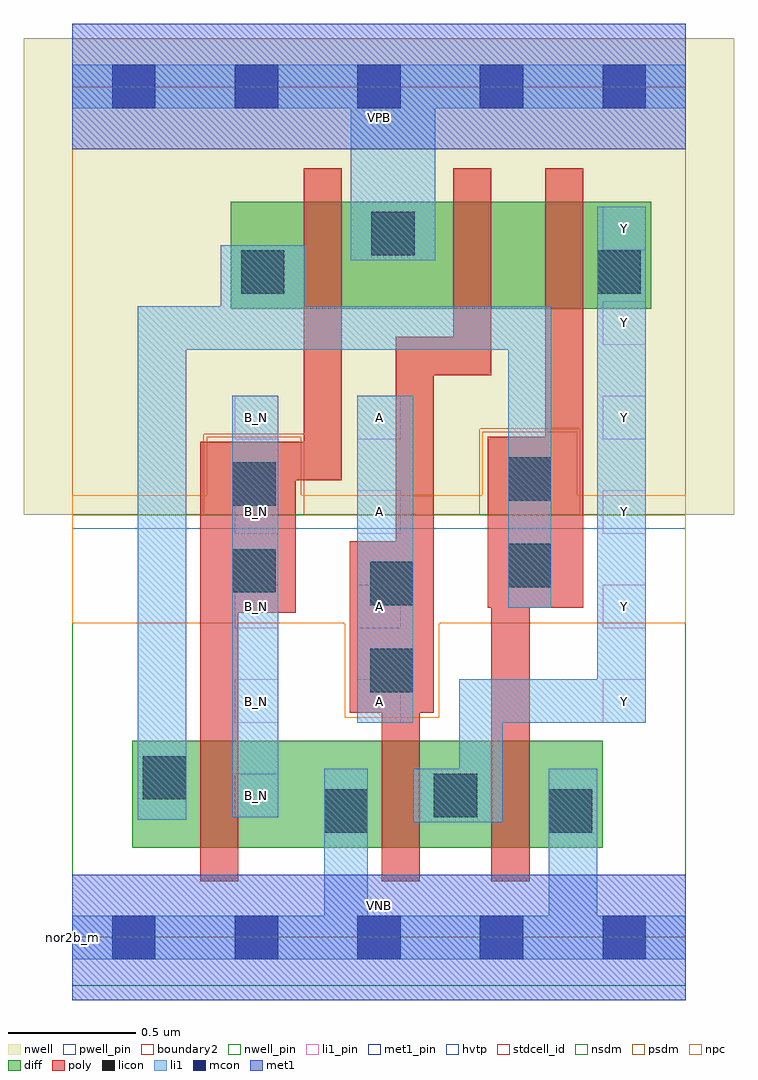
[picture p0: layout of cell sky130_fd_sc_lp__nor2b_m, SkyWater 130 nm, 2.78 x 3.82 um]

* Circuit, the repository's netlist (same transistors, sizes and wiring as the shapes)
* Copyright 2020 The SkyWater PDK Authors
*
* Licensed under the Apache License, Version 2.0 (the "License");
* you may not use this file except in compliance with the License.
* You may obtain a copy of the License at
*
*     https://www.apache.org/licenses/LICENSE-2.0
*
* Unless required by applicable law or agreed to in writing, software
* distributed under the License is distributed on an "AS IS" BASIS,
* WITHOUT WARRANTIES OR CONDITIONS OF ANY KIND, either express or implied.
* See the License for the specific language governing permissions and
* limitations under the License.
*
* SPDX-License-Identifier: Apache-2.0

.SUBCKT sky130_fd_sc_lp__nor2b_m A B_N VGND VNB VPB VPWR Y
*.PININFO A:I B_N:I VGND:I VNB:I VPB:I VPWR:I Y:O
MMP0 VPWR A sndPA VPB sky130_fd_pr__pfet_01v8_hvt m=1 w=0.42U l=0.15U mult=1 sa=0.265
+ sb=0.265 sd=0.28 area=0.063 perim=1.14
MMP1 sndPA B Y VPB sky130_fd_pr__pfet_01v8_hvt m=1 w=0.42U l=0.15U mult=1 sa=0.265
+ sb=0.265 sd=0.28 area=0.063 perim=1.14
MMIP1 B B_N VPWR VPB sky130_fd_pr__pfet_01v8_hvt m=1 w=0.42U l=0.15U mult=1 sa=0.265
+ sb=0.265 sd=0.28 area=0.063 perim=1.14
MMN0 Y A VGND VNB sky130_fd_pr__nfet_01v8 m=1 w=0.42U l=0.15U mult=1 sa=0.265 sb=0.265
+ sd=0.28 area=0.063 perim=1.14
MMN1 Y B VGND VNB sky130_fd_pr__nfet_01v8 m=1 w=0.42U l=0.15U mult=1 sa=0.265 sb=0.265
+ sd=0.28 area=0.063 perim=1.14
MMIN1 B B_N VGND VNB sky130_fd_pr__nfet_01v8 m=1 w=0.42U l=0.15U mult=1 sa=0.265
+ sb=0.265 sd=0.28 area=0.063 perim=1.14
.ENDS sky130_fd_sc_lp__nor2b_m

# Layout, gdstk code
import gdstk
lib = gdstk.Library(unit=1e-6, precision=1e-09)
def R(c, l, rs):  # rectangles x0, y0, x1, y1
    for r in rs: c.add(gdstk.rectangle(r[:2], r[2:], *l))
def A(c, l, x, y, w, h, nx, ny, dx, dy):  # array of equal rectangles
    R(c, l, [(x+i*dx, y+j*dy, x+i*dx+w, y+j*dy+h) for i in range(nx) for j in range(ny)])
def P(c, l, *ps):  # polygons
    for p in ps: c.add(gdstk.Polygon(p, *l))
nwell_pin = (64, 16)
nwell = (64, 20)
diff = (65, 20)
poly = (66, 20)
licon = (66, 44)
li1_pin = (67, 16)
li1 = (67, 20)
mcon = (67, 44)
met1_pin = (68, 16)
met1 = (68, 20)
hvtp = (78, 44)
stdcell_id = (81, 4)
nsdm = (93, 44)
psdm = (94, 20)
npc = (95, 20)
pwell_pin = (122, 16)
boundary2 = (236, 0)

sky130_fd_sc_lp__nor2b_m = lib.new_cell('sky130_fd_sc_lp__nor2b_m')
R(sky130_fd_sc_lp__nor2b_m, nwell_pin, [(0,3.085,2.4,3.33)])
R(sky130_fd_sc_lp__nor2b_m, nwell, [(-0.19,1.655,2.59,3.52)])
R(sky130_fd_sc_lp__nor2b_m, diff, [(0.235,0.35,2.075,0.77), (0.62,2.46,2.265,2.88)])
P(sky130_fd_sc_lp__nor2b_m, poly, [(1.055,3.01),(0.905,3.01),(0.905,1.94),(0.5,1.94),(0.5,0.22),(0.65,0.22),(0.65,1.27),(0.875,1.27),(0.875,1.79),(1.055,1.79)],
  [(1.64,3.01),(1.49,3.01),(1.49,2.35),(1.265,2.35),(1.265,1.55),(1.085,1.55),(1.085,0.88),(1.21,0.88),(1.21,0.22),(1.36,0.22),(1.36,0.88),(1.415,0.88),(1.415,2.2),(1.64,2.2)],
  [(2,3.01),(1.85,3.01),(1.85,1.96),(1.625,1.96),(1.625,1.29),(1.64,1.29),(1.64,0.22),(1.79,0.22),(1.79,1.29),(2,1.29)])
R(sky130_fd_sc_lp__nor2b_m, licon, [(0.985,0.41,1.155,0.58), (1.865,0.41,2.035,0.58), (1.415,0.47,1.585,0.64), (0.275,0.54,0.445,0.71), (1.165,0.96,1.335,1.13), (1.165,1.3,1.335,1.47), (0.625,1.35,0.795,1.52), (1.705,1.37,1.875,1.54), (0.625,1.69,0.795,1.86), (1.705,1.71,1.875,1.88), (0.66,2.52,0.83,2.69), (2.055,2.52,2.225,2.69), (1.17,2.67,1.34,2.84)])
A(sky130_fd_sc_lp__nor2b_m, li1_pin, 0.635, 0.47, 0.17, 0.17, 1, 5, 0, 0.37)
A(sky130_fd_sc_lp__nor2b_m, li1_pin, 1.115, 0.84, 0.17, 0.17, 1, 4, 0, 0.37)
A(sky130_fd_sc_lp__nor2b_m, li1_pin, 2.075, 0.84, 0.17, 0.17, 1, 6, 0, 0.37)
R(sky130_fd_sc_lp__nor2b_m, li1, [(0.625,0.47,0.805,2.12), (1.115,0.84,1.335,2.12)])
P(sky130_fd_sc_lp__nor2b_m, li1, [(1.09,2.65),(1.09,3.245),(0,3.245),(0,3.415),(2.4,3.415),(2.4,3.245),(1.42,3.245),(1.42,2.65)],
  [(1.865,0.085),(1.865,0.66),(2.055,0.66),(2.055,0.085),(2.4,0.085),(2.4,-0.085),(0,-0.085),(0,0.085),(0.985,0.085),(0.985,0.66),(1.155,0.66),(1.155,0.085)],
  [(1.515,1.01),(2.055,1.01),(2.055,2.86),(2.245,2.86),(2.245,0.84),(1.685,0.84),(1.685,0.45),(1.335,0.45),(1.335,0.66),(1.515,0.66)],
  [(0.58,2.47),(0.58,2.71),(0.91,2.71),(0.91,2.47),(1.875,2.47),(1.875,1.29),(1.705,1.29),(1.705,2.3),(0.445,2.3),(0.445,0.46),(0.255,0.46),(0.255,2.47)])
A(sky130_fd_sc_lp__nor2b_m, mcon, 0.155, -0.085, 0.17, 0.17, 5, 2, 0.48, 3.33)
R(sky130_fd_sc_lp__nor2b_m, met1_pin, [(0,0,2.4,0.245), (0,3.085,2.4,3.33)])
R(sky130_fd_sc_lp__nor2b_m, met1, [(0,-0.245,2.4,0.245), (0,3.085,2.4,3.575)])
R(sky130_fd_sc_lp__nor2b_m, hvtp, [(0,1.6,2.4,3.33)])
R(sky130_fd_sc_lp__nor2b_m, stdcell_id, [(0,0,2.4,3.33)])
R(sky130_fd_sc_lp__nor2b_m, nsdm, [(0,-0.19,2.4,1.655)])
P(sky130_fd_sc_lp__nor2b_m, psdm, [(2.4,3.52),(0,3.52),(0,1.655),(0.515,1.655),(0.515,1.97),(0.905,1.97),(0.905,1.655),(1.595,1.655),(1.595,1.99),(1.985,1.99),(1.985,1.655),(2.4,1.655)])
P(sky130_fd_sc_lp__nor2b_m, npc, [(2.4,1.73),(1.975,1.73),(1.975,1.98),(1.605,1.98),(1.605,1.73),(0.895,1.73),(0.895,1.96),(0.525,1.96),(0.525,1.73),(0,1.73),(0,1.23),(1.065,1.23),(1.065,0.86),(1.435,0.86),(1.435,1.23),(2.4,1.23)])
R(sky130_fd_sc_lp__nor2b_m, pwell_pin, [(0,0,2.4,0.245)])
R(sky130_fd_sc_lp__nor2b_m, boundary2, [(0,0,2.4,3.33)])
sky130_fd_sc_lp__nor2b_m.add(gdstk.Label('VNB', (1.2,0.123), layer=64, texttype=59))
sky130_fd_sc_lp__nor2b_m.add(gdstk.Label('VPB', (1.2,3.208), layer=64, texttype=5))
sky130_fd_sc_lp__nor2b_m.add(gdstk.Label('nor2b_m', (0,0), layer=83, texttype=44))
sky130_fd_sc_lp__nor2b_m.add(gdstk.Label('VPWR', (1.2,3.208), layer=68, texttype=5))
sky130_fd_sc_lp__nor2b_m.add(gdstk.Label('VGND', (1.2,0.123), layer=68, texttype=5))
sky130_fd_sc_lp__nor2b_m.add(gdstk.Label('A', (1.2,0.925), layer=67, texttype=5))
sky130_fd_sc_lp__nor2b_m.add(gdstk.Label('A', (1.2,1.295), layer=67, texttype=5))
sky130_fd_sc_lp__nor2b_m.add(gdstk.Label('A', (1.2,1.665), layer=67, texttype=5))
sky130_fd_sc_lp__nor2b_m.add(gdstk.Label('A', (1.2,2.035), layer=67, texttype=5))
sky130_fd_sc_lp__nor2b_m.add(gdstk.Label('B_N', (0.72,0.555), layer=67, texttype=5))
sky130_fd_sc_lp__nor2b_m.add(gdstk.Label('B_N', (0.72,0.925), layer=67, texttype=5))
sky130_fd_sc_lp__nor2b_m.add(gdstk.Label('B_N', (0.72,1.295), layer=67, texttype=5))
sky130_fd_sc_lp__nor2b_m.add(gdstk.Label('B_N', (0.72,1.665), layer=67, texttype=5))
sky130_fd_sc_lp__nor2b_m.add(gdstk.Label('B_N', (0.72,2.035), layer=67, texttype=5))
sky130_fd_sc_lp__nor2b_m.add(gdstk.Label('Y', (2.16,0.925), layer=67, texttype=5))
sky130_fd_sc_lp__nor2b_m.add(gdstk.Label('Y', (2.16,1.295), layer=67, texttype=5))
sky130_fd_sc_lp__nor2b_m.add(gdstk.Label('Y', (2.16,1.665), layer=67, texttype=5))
sky130_fd_sc_lp__nor2b_m.add(gdstk.Label('Y', (2.16,2.035), layer=67, texttype=5))
sky130_fd_sc_lp__nor2b_m.add(gdstk.Label('Y', (2.16,2.405), layer=67, texttype=5))
sky130_fd_sc_lp__nor2b_m.add(gdstk.Label('Y', (2.16,2.775), layer=67, texttype=5))

lib.write_gds('sky130_fd_sc_lp__nor2b_m.gds')
